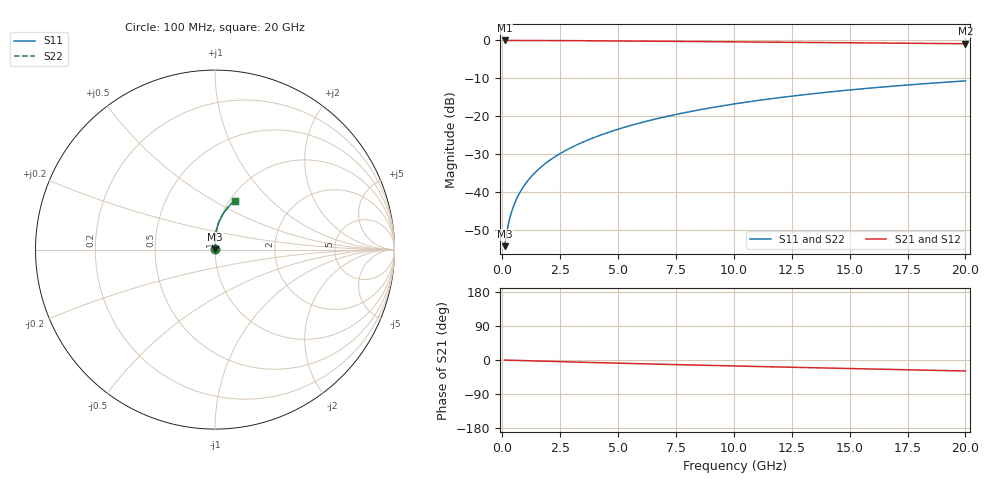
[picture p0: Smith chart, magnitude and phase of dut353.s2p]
! Touchstone file exported from HFSS 2024.1.0
!  File:  C:/UserFiles/LocalFiles/RDL_TSV_Batchsim/temp_RDL_top_353_1779608263.aedt
!  Generated:  03:39:59 PM May 24, 2026
!  Design:  RDL_top
!  Project:  temp_RDL_top_353_1779608263
!  Setup:  Setup1
!  Solution:  Sweep
! Variables:
!  dtsv = 10.80580581um
!  hbump = 3um
!  htsv = 70.9um
!  ldown = 100um
!  lrdl = 375.91um
!  p = 40
!  p1 = 59.53um
!  rhole = 1um
!  t = 450um
!  tdown = 3.915915916um
!  trdl = 4.45um
!  wdown = 15.38538539um
!  wrdl = 24.94um
# GHz S MA R 50.000000
! Terminal data exported
! Port[1] = Box2_T1
! Port[2] = Box2_T2
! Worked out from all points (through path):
!   200 points, 100 MHz to 20 GHz, reference 50 ohm
!   highest |S21| = -0.01 dB at 100 MHz (marker M1); lowest = -0.9 dB at 20 GHz (marker M2)
!   group delay of S21, straight-line fit = 3.98 ps
!   lowest |S11| = -54.2 dB at 100 MHz (marker M3), VSWR 1.00, Z = 50.1 + j0.139 ohm
!   |S11| at or under -10 dB: start of sweep to end of sweep
!   |S22| runs from -54.2 to -10.6 dB; largest |S21 - S12| = 3.4e-15
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0.1  0.001961 45.1  0.9986 -0.2  0.9986 -0.2  0.001961 45.1
! Gamma 0 0 0 0
! Port Impedance 50 0 50 0
0.2  0.003098 61.9  0.9985 -0.4  0.9985 -0.4  0.003098 61.9
0.3  0.004311 69.1  0.9984 -0.5  0.9984 -0.5  0.004311 69.1
0.4  0.005531 73.3  0.9983 -0.7  0.9983 -0.7  0.005531 73.3
0.5  0.006755 76.0  0.9982 -0.9  0.9982 -0.9  0.006755 76.0
0.7  0.009221 79.6  0.9979 -1.2  0.9979 -1.2  0.009221 79.6
0.8  0.01046 80.8  0.9978 -1.4  0.9978 -1.4  0.01046 80.8
1  0.01297 82.7  0.9975 -1.8  0.9975 -1.8  0.01297 82.7
1.2  0.0155 84.0  0.9972 -2.1  0.9972 -2.1  0.0155 84.0
1.4  0.01805 84.9  0.9968 -2.4  0.9968 -2.4  0.01805 84.9
1.7  0.02192 86.0  0.9962 -3.0  0.9962 -3.0  0.02192 86.0
2  0.02583 86.7  0.9954 -3.5  0.9954 -3.5  0.02583 86.7
2.7  0.03516 87.8  0.9932 -4.7  0.9932 -4.7  0.03516 87.8
3.5  0.04618 88.3  0.9901 -6.0  0.9901 -6.0  0.04618 88.3
4.2  0.05612 88.4  0.9871 -7.1  0.9871 -7.1  0.05612 88.4
5  0.06783 88.2  0.9833 -8.4  0.9833 -8.4  0.06783 88.2
6.8  0.09521 86.9  0.9742 -11.1  0.9742 -11.1  0.09521 86.9
8.4  0.1203 85.0  0.9659 -13.5  0.9659 -13.5  0.1203 85.0
10.1  0.1472 82.7  0.9571 -15.9  0.9571 -15.9  0.1472 82.7
13.4  0.1986 77.7  0.9399 -20.4  0.9399 -20.4  0.1986 77.7
16.7  0.2477 72.7  0.9224 -24.8  0.9224 -24.8  0.2477 72.8
20  0.2935 68.0  0.9045 -29.0  0.9045 -29.0  0.2935 68.0
